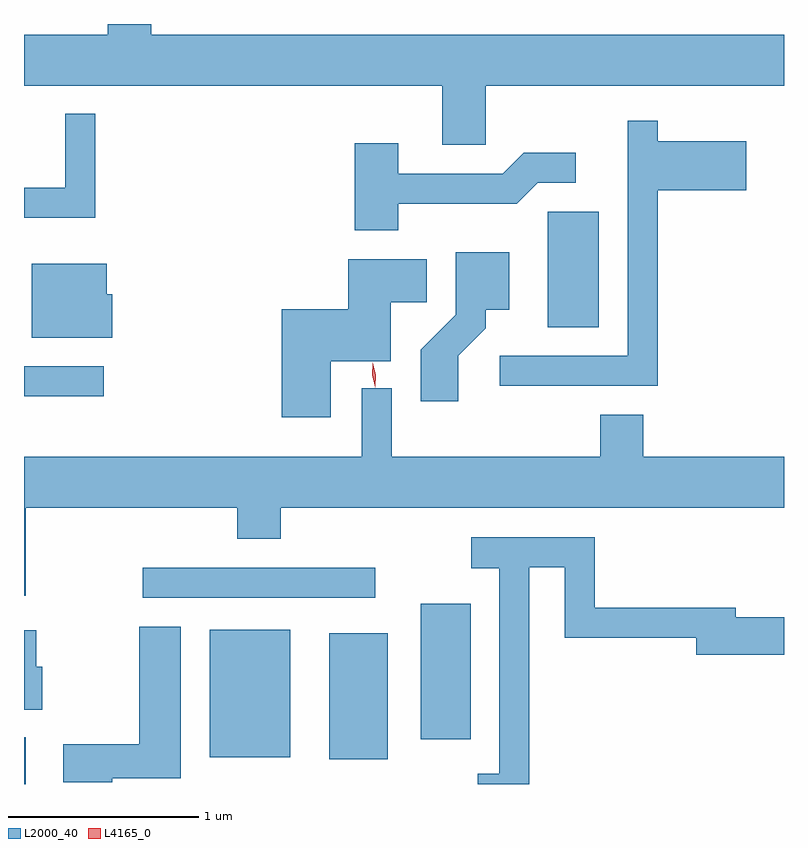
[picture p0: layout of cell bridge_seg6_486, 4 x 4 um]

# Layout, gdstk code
import gdstk
lib = gdstk.Library(unit=1e-6, precision=1e-09)
def R(c, l, rs):  # rectangles x0, y0, x1, y1
    for r in rs: c.add(gdstk.rectangle(r[:2], r[2:], *l))
def P(c, l, *ps):  # polygons
    for p in ps: c.add(gdstk.Polygon(p, *l))
L2000_40 = (2000, 40)
L4165_0 = (4165, 0)

bridge_seg6_486 = lib.new_cell('bridge_seg6_486')
R(bridge_seg6_486, L2000_40, [(969.489,1595.201,969.499,1595.448), (971.096,1595.331,971.404,1595.994), (970.466,1595.341,970.889,1596.014), (971.576,1595.436,971.839,1596.149), (970.113,1596.181,971.338,1596.339), (969.489,1597.241,969.908,1597.399), (972.246,1597.606,972.514,1598.214)])
P(bridge_seg6_486, L2000_40, [(971.919,1598.876),(973.489,1598.876),(973.489,1599.144),(970.159,1599.144),(970.159,1599.201),(969.931,1599.201),(969.931,1599.144),(969.489,1599.144),(969.489,1598.876),(971.691,1598.876),(971.691,1598.566),(971.919,1598.566)],
  [(969.864,1598.728),(969.706,1598.728),(969.706,1598.339),(969.489,1598.339),(969.489,1598.181),(969.864,1598.181)],
  [(972.824,1598.326),(973.289,1598.326),(973.289,1598.584),(972.824,1598.584),(972.824,1598.693),(972.666,1598.693),(972.666,1597.454),(971.993,1597.454),(971.993,1597.296),(972.824,1597.296)],
  [(971.459,1598.256),(972.082,1598.256),(972.192,1598.366),(972.393,1598.366),(972.393,1598.524),(972.119,1598.524),(972.009,1598.414),(971.459,1598.414),(971.459,1598.574),(971.231,1598.574),(971.231,1598.116),(971.459,1598.116)],
  [(971.774,1597.454),(971.919,1597.599),(971.919,1597.696),(972.044,1597.696),(972.044,1597.999),(971.761,1597.999),(971.761,1597.672),(971.576,1597.487),(971.576,1597.216),(971.774,1597.216)],
  [(971.104,1597.426),(971.419,1597.426),(971.419,1597.736),(971.609,1597.736),(971.609,1597.964),(971.196,1597.964),(971.196,1597.699),(970.846,1597.699),(970.846,1597.131),(971.104,1597.131)],
  [(969.954,1597.779),(969.924,1597.779),(969.924,1597.939),(969.531,1597.939),(969.531,1597.551),(969.954,1597.551)],
  [(969.499,1596.656),(970.611,1596.656),(970.611,1596.491),(970.839,1596.491),(970.839,1596.656),(973.489,1596.656),(973.489,1596.924),(972.749,1596.924),(972.749,1597.144),(972.521,1597.144),(972.521,1596.924),(971.424,1596.924),(971.424,1597.283),(971.266,1597.283),(971.266,1596.924),(969.489,1596.924),(969.489,1596.193),(969.499,1596.193)],
  [(972.149,1596.341),(972.336,1596.341),(972.336,1595.971),(973.026,1595.971),(973.026,1595.881),(973.489,1595.881),(973.489,1596.079),(973.234,1596.079),(973.234,1596.129),(972.494,1596.129),(972.494,1596.499),(971.843,1596.499),(971.843,1596.336),(971.991,1596.336),(971.991,1595.254),(971.876,1595.254),(971.876,1595.201),(972.149,1595.201)],
  [(969.954,1595.231),(970.314,1595.231),(970.314,1596.029),(970.096,1596.029),(970.096,1595.409),(969.696,1595.409),(969.696,1595.211),(969.954,1595.211)],
  [(969.584,1595.819),(969.554,1595.819),(969.554,1596.009),(969.489,1596.009),(969.489,1595.591),(969.584,1595.591)])
P(bridge_seg6_486, L4165_0, [(971.337,1597.288),(971.337,1597.288),(971.321,1597.353),(971.324,1597.419),(971.325,1597.419),(971.325,1597.419),(971.341,1597.354),(971.338,1597.288)])

lib.write_gds('bridge_seg6_486.gds')
